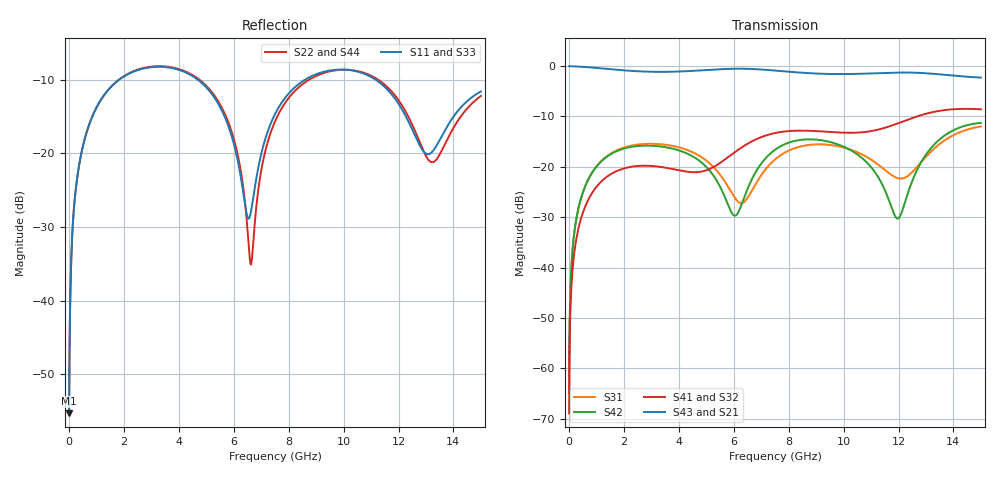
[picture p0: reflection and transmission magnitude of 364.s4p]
! Created with skrf 1.8.0 (http://scikit-rf.org).
# GHz S RI R 50.0
!freq ReS11 ImS11 ReS12 ImS12 ReS13 ImS13
! ReS14 ImS14
! ReS21 ImS21 ReS22 ImS22 ReS23 ImS23
! ReS24 ImS24
! ReS31 ImS31 ReS32 ImS32 ReS33 ImS33
! ReS34 ImS34
! ReS41 ImS41 ReS42 ImS42 ReS43 ImS43
! ReS44 ImS44
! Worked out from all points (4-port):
!   2499 points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, 5 MHz to 15 GHz, reference 50 ohm
!   strongest paths, dB at 5 MHz, 3.476 GHz, 7.19 GHz, 11.1 GHz, 15 GHz:
!     S43: 0.0, -1.1, -0.7, -1.4, -2.3
!     S21: 0.0, -1.1, -0.7, -1.4, -2.3
!     S41: -68.9, -20.1, -13.7, -12.8, -8.6
!     S32: -68.9, -20.1, -13.8, -12.8, -8.6
!     S42: -64.8, -16.1, -18.1, -20.7, -11.3
!     S31: -64.8, -15.6, -20.3, -18.9, -12.0
!   lowest |S11| = -55.3 dB at 5 MHz (marker M1), VSWR 1.00, Z = 50.1 + j0.104 ohm
!   |S11| at or under -10 dB: start of sweep to 1.818 GHz; 4.703 GHz to 8.583 GHz (3.88 GHz wide, 58.4 % of centre); 11.18 GHz to end of sweep
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0.005  0.00137 0.00103  0.9986 -0.00266  6.88e-05 0.000569  -6.66e-05 -0.000352
       0.9986 -0.00266  0.00137 0.00103  -6.66e-05 -0.000352  6.86e-05 0.000569
       6.88e-05 0.000569  -6.66e-05 -0.000352  0.00137 0.00103  0.9986 -0.00266
       -6.66e-05 -0.000352  6.86e-05 0.000569  0.9986 -0.00266  0.00137 0.00103
0.4126719  0.0269 0.0884  0.9626 -0.2166  0.014 0.0439  -0.0111 -0.0268
           0.9626 -0.2166  0.0271 0.0884  -0.0111 -0.0268  0.013 0.0441
           0.014 0.0439  -0.0111 -0.0268  0.0269 0.0884  0.9626 -0.2166
           -0.0111 -0.0268  0.013 0.0441  0.9626 -0.2166  0.0271 0.0884
1.975823  0.2839 0.1711  0.5109 -0.7515  0.1459 0.0516  -0.096 0.00079
          0.5109 -0.7515  0.2876 0.1685  -0.096 0.000838  0.1353 0.0676
          0.1459 0.0516  -0.096 0.000838  0.2838 0.1711  0.5109 -0.7515
          -0.096 0.00079  0.1353 0.0676  0.5109 -0.7515  0.2876 0.1684
5.283451  0.1696 -0.1723  -0.6924 -0.6114  0.00991 -0.0977  -0.0476 0.0883
          -0.6924 -0.6114  0.1612 -0.1905  -0.0471 0.0889  0.0661 -0.0455
          0.00991 -0.0977  -0.0471 0.0889  0.1705 -0.1709  -0.6925 -0.6116
          -0.0476 0.0883  0.0661 -0.0455  -0.6925 -0.6116  0.1597 -0.1912
6.540225  0.036 -0.00105  -0.9352 -0.0844  -0.0356 0.0366  -0.0122 0.1714
          -0.9352 -0.0844  0.0172 -0.0172  -0.0109 0.1713  0.0411 0.049
          -0.0356 0.0366  -0.0109 0.1713  0.0391 -0.000498  -0.9351 -0.0846
          -0.0122 0.1714  0.0411 0.049  -0.9351 -0.0846  0.0141 -0.017
10.57316  0.3483 -0.0802  0.1369 0.8266  0.0844 -0.1078  0.2037 -0.0812
          0.1369 0.8266  0.3523 -0.079  0.2028 -0.0824  0.0929 -0.0889
          0.0844 -0.1078  0.2028 -0.0824  0.3453 -0.0842  0.1362 0.8276
          0.2037 -0.0812  0.0929 -0.0889  0.1362 0.8276  0.351 -0.0733
15  0.2531 0.0751  0.6044 -0.4763  0.2262 0.1103  -0.2891 -0.2355
    0.6044 -0.4763  0.2317 0.083  -0.2914 -0.2321  0.2474 0.1157
    0.2262 0.1103  -0.2914 -0.2321  0.2557 0.0745  0.6052 -0.4744
    -0.2891 -0.2355  0.2474 0.1157  0.6052 -0.4744  0.2316 0.0888
